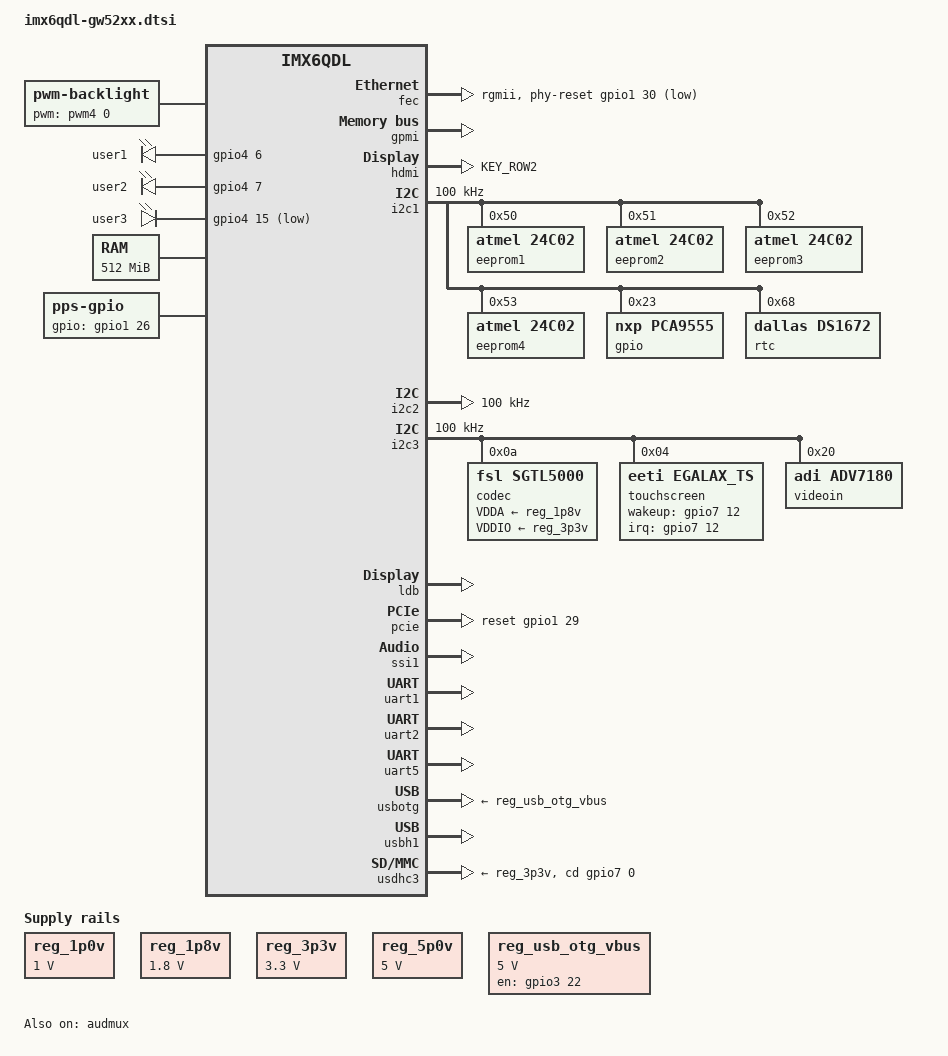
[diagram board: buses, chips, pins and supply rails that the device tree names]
/*
 * Copyright 2013 Gateworks Corporation
 *
 * The code contained herein is licensed under the GNU General Public
 * License. You may obtain a copy of the GNU General Public License
 * Version 2 or later at the following locations:
 *
 * http://www.opensource.org/licenses/gpl-license.html
 * http://www.gnu.org/copyleft/gpl.html
 */

#include <dt-bindings/gpio/gpio.h>

/ {
	/* these are used by bootloader for disabling nodes */
	aliases {
		led0 = &led0;
		led1 = &led1;
		led2 = &led2;
		nand = &gpmi;
		ssi0 = &ssi1;
		usb0 = &usbh1;
		usb1 = &usbotg;
	};

	chosen {
		bootargs = "console=ttymxc1,115200";
	};

	backlight {
		compatible = "pwm-backlight";
		pwms = <&pwm4 0 5000000>;
		brightness-levels = <0 4 8 16 32 64 128 255>;
		default-brightness-level = <7>;
	};

	leds {
		compatible = "gpio-leds";
		pinctrl-names = "default";
		pinctrl-0 = <&pinctrl_gpio_leds>;

		led0: user1 {
			label = "user1";
			gpios = <&gpio4 6 GPIO_ACTIVE_HIGH>; /* MX6_PANLEDG */
			default-state = "on";
			linux,default-trigger = "heartbeat";
		};

		led1: user2 {
			label = "user2";
			gpios = <&gpio4 7 GPIO_ACTIVE_HIGH>; /* MX6_PANLEDR */
			default-state = "off";
		};

		led2: user3 {
			label = "user3";
			gpios = <&gpio4 15 GPIO_ACTIVE_LOW>; /* MX6_LOCLED# */
			default-state = "off";
		};
	};

	memory {
		reg = <0x10000000 0x20000000>;
	};

	pps {
		compatible = "pps-gpio";
		pinctrl-names = "default";
		pinctrl-0 = <&pinctrl_pps>;
		gpios = <&gpio1 26 GPIO_ACTIVE_HIGH>;
		status = "okay";
	};

	regulators {
		compatible = "simple-bus";

		reg_1p0v: 1p0v {
			compatible = "regulator-fixed";
			regulator-name = "1P0V";
			regulator-min-microvolt = <1000000>;
			regulator-max-microvolt = <1000000>;
			regulator-always-on;
		};

		/* remove this fixed regulator once ltc3676__sw2 driver available */
		reg_1p8v: 1p8v {
			compatible = "regulator-fixed";
			regulator-name = "1P8V";
			regulator-min-microvolt = <1800000>;
			regulator-max-microvolt = <1800000>;
			regulator-always-on;
		};

		reg_3p3v: 3p3v {
			compatible = "regulator-fixed";
			regulator-name = "3P3V";
			regulator-min-microvolt = <3300000>;
			regulator-max-microvolt = <3300000>;
			regulator-always-on;
		};

		reg_5p0v: 5p0v {
			compatible = "regulator-fixed";
			regulator-name = "5P0V";
			regulator-min-microvolt = <5000000>;
			regulator-max-microvolt = <5000000>;
			regulator-always-on;
		};

		reg_usb_otg_vbus: usb_otg_vbus {
			compatible = "regulator-fixed";
			regulator-name = "usb_otg_vbus";
			regulator-min-microvolt = <5000000>;
			regulator-max-microvolt = <5000000>;
			gpio = <&gpio3 22 GPIO_ACTIVE_HIGH>;
			enable-active-high;
		};
	};

	sound {
		compatible = "fsl,imx6q-ventana-sgtl5000",
			     "fsl,imx-audio-sgtl5000";
		model = "sgtl5000-audio";
		ssi-controller = <&ssi1>;
		audio-codec = <&codec>;
		audio-routing =
			"MIC_IN", "Mic Jack",
			"Mic Jack", "Mic Bias",
			"Headphone Jack", "HP_OUT";
		mux-int-port = <1>;
		mux-ext-port = <4>;
	};

	imx-drm {
		compatible = "fsl,imx-drm";
		crtcs = <&ipu1 0>, <&ipu1 1>;
		connectors = <&hdmi>;
	};

};

&audmux {
	pinctrl-names = "default";
	pinctrl-0 = <&pinctrl_audmux_1>;
	status = "okay";
};

&fec {
	pinctrl-names = "default";
	pinctrl-0 = <&pinctrl_enet_1>;
	phy-mode = "rgmii";
	phy-reset-gpios = <&gpio1 30 0>;
	status = "okay";
};

&gpmi {
	pinctrl-names = "default";
	pinctrl-0 = <&pinctrl_gpmi_nand_2>;
	status = "okay";
};

&hdmi {
	pinctrl-names = "default";
	pinctrl-0 = <&pinctrl_hog_hdmi>;
	ddc = <&i2c2>;
	status = "okay";
	crtcs = <&ipu1 0>;
};

&hdmi {
	ddc-i2c-bus = <&i2c3>;
	status = "okay";
};

&i2c1 {
	clock-frequency = <100000>;
	pinctrl-names = "default";
	pinctrl-0 = <&pinctrl_i2c1_1>;
	status = "okay";

	eeprom1: eeprom@50 {
		compatible = "atmel,24c02";
		reg = <0x50>;
		pagesize = <16>;
	};

	eeprom2: eeprom@51 {
		compatible = "atmel,24c02";
		reg = <0x51>;
		pagesize = <16>;
	};

	eeprom3: eeprom@52 {
		compatible = "atmel,24c02";
		reg = <0x52>;
		pagesize = <16>;
	};

	eeprom4: eeprom@53 {
		compatible = "atmel,24c02";
		reg = <0x53>;
		pagesize = <16>;
	};

	gpio: pca9555@23 {
		compatible = "nxp,pca9555";
		reg = <0x23>;
		gpio-controller;
		#gpio-cells = <2>;
	};

	rtc: ds1672@68 {
		compatible = "dallas,ds1672";
		reg = <0x68>;
	};
};

&i2c2 {
	clock-frequency = <100000>;
	pinctrl-names = "default";
	pinctrl-0 = <&pinctrl_i2c2_2>;
	status = "okay";
};

&i2c3 {
	clock-frequency = <100000>;
	pinctrl-names = "default";
	pinctrl-0 = <&pinctrl_i2c3_2>;
	status = "okay";

	codec: sgtl5000@0a {
		compatible = "fsl,sgtl5000";
		reg = <0x0a>;
		clocks = <&clks 201>;
		VDDA-supply = <&reg_1p8v>;
		VDDIO-supply = <&reg_3p3v>;
	};

	touchscreen: egalax_ts@04 {
		compatible = "eeti,egalax_ts";
		reg = <0x04>;
		interrupt-parent = <&gpio7>;
		interrupts = <12 2>; /* gpio7_12 active low */
		wakeup-gpios = <&gpio7 12 0>;
	};

	videoin: adv7180@20 {
		compatible = "adi,adv7180";
		reg = <0x20>;
	};
};

&iomuxc {
	pinctrl-names = "default";
	pinctrl-0 = <&pinctrl_hog>;

	hog {
		pinctrl_hog_hdmi: hog-hdmi {
			fsl,pins = <
				MX6QDL_PAD_KEY_ROW2__HDMI_TX_CEC_LINE 0x1f8b0
			>;
		};

		pinctrl_hog: hoggrp {
			fsl,pins = <
				MX6QDL_PAD_EIM_A19__GPIO2_IO19   0x80000000 /* MEZZ_DIO0 */
				MX6QDL_PAD_EIM_A20__GPIO2_IO18   0x80000000 /* MEZZ_DIO1 */
				MX6QDL_PAD_EIM_D22__GPIO3_IO22   0x80000000 /* OTG_PWR_EN */
				MX6QDL_PAD_EIM_D31__GPIO3_IO31   0x80000000 /* VIDDEC_PDN# */
				MX6QDL_PAD_ENET_TXD0__GPIO1_IO30 0x80000000 /* PHY Reset */
				MX6QDL_PAD_ENET_TXD1__GPIO1_IO29 0x80000000 /* PCIE_RST# */
				MX6QDL_PAD_ENET_RXD0__GPIO1_IO27 0x80000000 /* GPS_PWDN */
				MX6QDL_PAD_ENET_RXD1__GPIO1_IO26 0x80000000 /* GPS_PPS */
				MX6QDL_PAD_GPIO_0__CCM_CLKO1     0x000130b0 /* AUD4_MCK */
				MX6QDL_PAD_GPIO_2__GPIO1_IO02    0x80000000 /* USB_SEL_PCI */
				MX6QDL_PAD_GPIO_17__GPIO7_IO12   0x80000000 /* TOUCH_IRQ# */
				MX6QDL_PAD_KEY_COL0__GPIO4_IO06  0x80000000 /* user1 led */
				MX6QDL_PAD_KEY_ROW0__GPIO4_IO07  0x80000000 /* user2 led */
				MX6QDL_PAD_KEY_ROW4__GPIO4_IO15  0x80000000 /* user3 led */
				MX6QDL_PAD_SD2_CMD__GPIO1_IO11   0x80000000 /* LVDS_TCH# */
				MX6QDL_PAD_SD3_DAT5__GPIO7_IO00  0x80000000 /* SD3_CD# */
				MX6QDL_PAD_SD4_DAT3__GPIO2_IO11  0x80000000 /* UART2_EN# */
			 >;
		};
	};
};

&ldb {
	status = "okay";
	lvds-channel@0 {
		crtcs = <&ipu1 0>, <&ipu1 1>;
	};
};

&pcie {
	reset-gpio = <&gpio1 29 0>;
	status = "okay";
};

&ssi1 {
	fsl,mode = "i2s-slave";
	status = "okay";
};

&uart1 {
	pinctrl-names = "default";
	pinctrl-0 = <&pinctrl_uart1_2>;
	status = "okay";
};

&uart2 {
	pinctrl-names = "default";
	pinctrl-0 = <&pinctrl_uart2_3>;
	status = "okay";
};

&uart5 {
	pinctrl-names = "default";
	pinctrl-0 = <&pinctrl_uart5_1>;
	status = "okay";
};

&usbotg {
	vbus-supply = <&reg_usb_otg_vbus>;
	pinctrl-names = "default";
	pinctrl-0 = <&pinctrl_usbotg_1>;
	disable-over-current;
	status = "okay";
};

&usbh1 {
	status = "okay";
};

&usdhc3 {
	pinctrl-names = "default";
	pinctrl-0 = <&pinctrl_usdhc3_2>;
	cd-gpios = <&gpio7 0 0>;
	vmmc-supply = <&reg_3p3v>;
	status = "okay";
};
